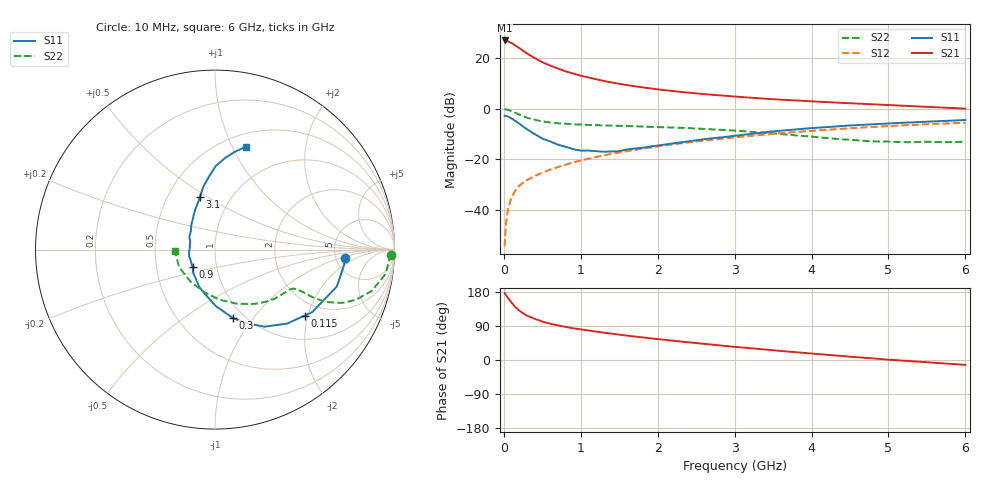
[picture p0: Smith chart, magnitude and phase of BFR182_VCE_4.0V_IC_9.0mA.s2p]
! Infineon Technologies  Discrete & RF Semiconductors
! BFR182
! VCE =  4.0 V,  IC =  9.0 mA
! Common Emitter S-Parameters:  Nov 2015
# GHz  S  MA  R  50
!  f  S11  S21  S12  S22
! GHz  MAG  ANG  MAG  ANG  MAG  ANG  MAG  ANG
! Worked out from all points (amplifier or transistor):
!   210 points, 10 MHz to 6 GHz, reference 50 ohm
!   highest |S21| = 27.1 dB at 10 MHz (marker M1)
!   |S21| within 3 dB of that: start of sweep to 201.1 MHz
!   unconditionally stable (mu >= 1): 842.5 MHz to 2.691 GHz
!   at 185 MHz: K = 0.48, MSG = 27.7 dB, |S12| = -31.0 dB
!   at 1.52 GHz: K = 1.05, MAG = 12.1 dB, |S12| = -17.2 dB
!   at 6 GHz: K = 0.89, MSG = 2.8 dB, |S12| = -5.6 dB
!   S11 on the Smith chart (normalised r, x): 10 MHz: 6.03, -1.22; 115 MHz: 1.59, -1.91; 300 MHz: 0.88, -0.80; 900 MHz: 0.76, -0.15; 3.1 GHz: 0.72, +0.46; 6 GHz: 0.63, +1.13
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0.01  0.7254 -3.8  22.53 176.6  0.0019 85.9  0.9829 -1.6
0.02  0.7251 -6.5  22.14 173.5  0.0034 87.2  0.9722 -3.3
0.05  0.7097 -16.8  21.72 164.9  0.0093 81.2  0.9605 -8.1
0.1  0.6439 -32.8  20.21 151.4  0.0173 76.1  0.902 -14.9
0.115  0.6201 -36.4  19.44 148.1  0.0193 74.0  0.8803 -16.3
0.15  0.5754 -45.8  17.91 139.4  0.0241 70.6  0.8318 -19.7
0.2  0.5107 -57.2  15.99 130.4  0.0299 67.8  0.7668 -22.8
0.26  0.434 -68.7  13.77 121.7  0.035 65.8  0.7006 -24.7
0.3  0.3938 -75.3  12.48 117.0  0.0387 65.7  0.6652 -25.5
0.4  0.3162 -88.9  10.11 108.6  0.0463 65.4  0.6044 -26.0
0.5  0.2567 -101.8  8.375 101.3  0.0541 66.3  0.5613 -25.9
0.6  0.2265 -112.7  7.187 95.9  0.0622 66.8  0.5342 -25.8
0.7  0.1953 -122.6  6.269 91.4  0.0697 67.2  0.5162 -25.8
0.9  0.1593 -141.8  4.967 83.7  0.0866 67.5  0.4938 -26.2
1.02  0.1482 -156.8  4.447 80.0  0.0958 67.7  0.4838 -26.7
1.4  0.1432 168.3  3.318 69.5  0.1277 67.0  0.4634 -30.0
1.7  0.1625 150.4  2.787 61.9  0.1532 65.3  0.4504 -33.3
2.02  0.1886 134.7  2.404 54.7  0.1819 63.1  0.4357 -37.7
3.1  0.3036 106.2  1.7 33.0  0.2809 53.9  0.3599 -57.3
4.1  0.4238 93.1  1.378 15.4  0.3747 43.1  0.2711 -88.0
5.1  0.5212 82.7  1.17 -0.4  0.4634 30.9  0.2199 -133.5
6  0.5974 73.3  1.006 -12.8  0.5272 18.6  0.2236 -178.3
